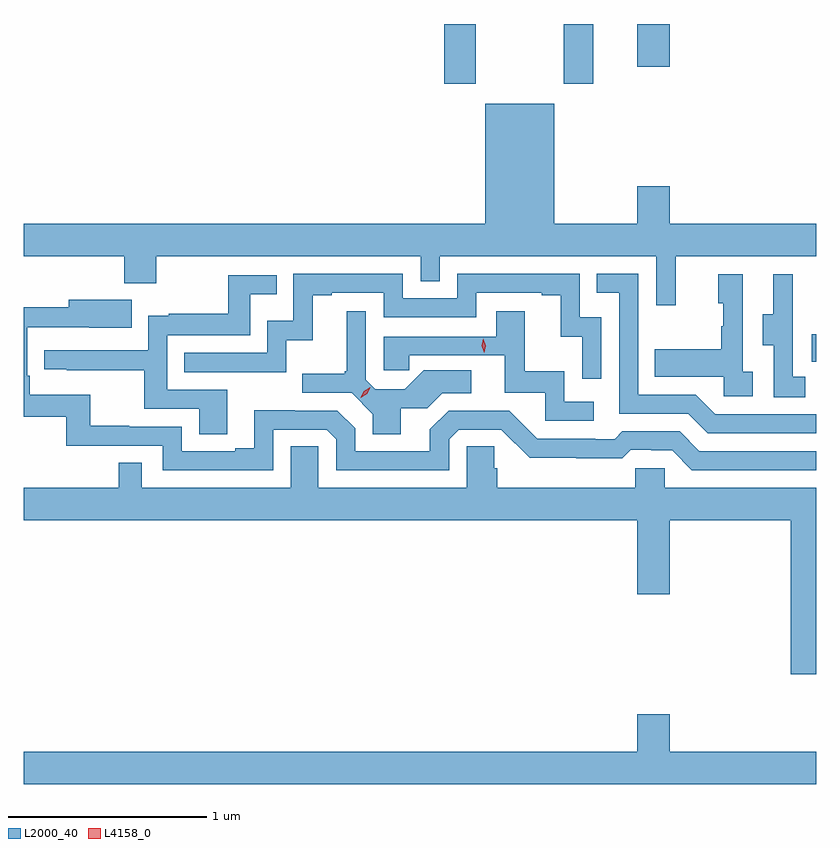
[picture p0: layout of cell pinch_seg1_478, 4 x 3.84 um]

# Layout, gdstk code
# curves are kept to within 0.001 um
import gdstk
lib = gdstk.Library(unit=1e-6, precision=1e-09)
def R(c, l, rs):  # rectangles x0, y0, x1, y1
    for r in rs: c.add(gdstk.rectangle(r[:2], r[2:], *l))
def P(c, l, *ps):  # polygons
    for p in ps: c.add(gdstk.Polygon(p, *l))
L2000_40 = (2000, 40)
L4158_0 = (4158, 0)

pinch_seg1_478 = lib.new_cell('pinch_seg1_478')
R(pinch_seg1_478, L2000_40, [(1088.965,541.877,1088.987,542.014), (1087.109,543.279,1087.269,543.581), (1087.714,543.279,1087.861,543.581), (1088.084,543.366,1088.248,543.581)])
P(pinch_seg1_478, L2000_40, [(1088.279,542.408),(1088.987,542.408),(1088.987,542.572),(1088.248,542.572),(1088.248,542.761),(1088.084,542.761),(1088.084,542.572),(1087.666,542.572),(1087.666,543.178),(1087.316,543.178),(1087.316,542.572),(1084.987,542.572),(1084.987,542.408),(1085.495,542.408),(1085.495,542.273),(1085.655,542.273),(1085.655,542.408),(1086.99,542.408),(1086.99,542.281),(1087.086,542.281),(1087.086,542.408),(1088.181,542.408),(1088.181,542.16),(1088.279,542.16)],
  [(1088.987,541.611),(1088.478,541.611),(1088.379,541.71),(1088.088,541.71),(1088.088,542.319),(1087.879,542.319),(1087.879,542.223),(1087.992,542.223),(1087.992,541.614),(1088.342,541.614),(1088.441,541.515),(1088.987,541.515)],
  [(1087.902,542.1),(1087.794,542.1),(1087.794,542.319),(1087.176,542.319),(1087.176,542.196),(1086.9,542.196),(1086.9,542.319),(1086.348,542.319),(1086.348,542.083),(1086.216,542.083),(1086.216,541.92),(1085.797,541.92),(1085.797,541.824),(1086.312,541.824),(1086.312,541.985),(1086.445,541.985),(1086.445,542.211),(1086.541,542.211),(1086.541,542.223),(1086.804,542.223),(1086.804,542.1),(1087.272,542.1),(1087.272,542.223),(1087.601,542.223),(1087.601,542.211),(1087.697,542.211),(1087.697,542.003),(1087.806,542.003),(1087.806,541.791),(1087.902,541.791)],
  [(1088.668,541.826),(1088.616,541.826),(1088.616,542.317),(1088.492,542.317),(1088.492,542.172),(1088.518,542.172),(1088.518,542.054),(1088.508,542.054),(1088.508,541.939),(1088.173,541.939),(1088.173,541.799),(1088.52,541.799),(1088.52,541.701),(1088.668,541.701)],
  [(1088.932,541.799),(1088.868,541.799),(1088.868,542.103),(1088.87,542.103),(1088.87,542.317),(1088.771,542.317),(1088.771,542.115),(1088.717,542.115),(1088.717,541.96),(1088.772,541.96),(1088.772,541.696),(1088.932,541.696)],
  [(1086.013,541.734),(1085.712,541.734),(1085.712,542.01),(1086.129,542.01),(1086.129,542.216),(1086.263,542.216),(1086.263,542.313),(1086.018,542.313),(1086.018,542.119),(1085.719,542.119),(1085.719,542.107),(1085.616,542.107),(1085.616,541.935),(1085.091,541.935),(1085.091,541.839),(1085.203,541.839),(1085.203,541.834),(1085.596,541.834),(1085.596,541.638),(1085.873,541.638),(1085.873,541.51),(1086.013,541.51)],
  [(1086.246,541.533),(1086.516,541.533),(1086.564,541.485),(1086.564,541.329),(1087.134,541.329),(1087.134,541.485),(1087.182,541.533),(1087.398,541.533),(1087.54,541.391),(1087.776,541.391),(1087.776,541.389),(1088.009,541.389),(1088.051,541.431),(1088.154,541.431),(1088.154,541.428),(1088.261,541.428),(1088.36,541.329),(1088.987,541.329),(1088.987,541.425),(1088.397,541.425),(1088.298,541.524),(1088.009,541.524),(1087.97,541.485),(1087.871,541.485),(1087.871,541.488),(1087.578,541.488),(1087.437,541.629),(1087.131,541.629),(1087.037,541.535),(1087.037,541.425),(1086.66,541.425),(1086.66,541.539),(1086.57,541.629),(1086.354,541.629),(1086.354,541.631),(1086.149,541.631),(1086.149,541.438),(1086.053,541.438),(1086.053,541.425),(1085.784,541.425),(1085.784,541.548),(1085.519,541.548),(1085.519,541.553),(1085.323,541.553),(1085.323,541.708),(1085.018,541.708),(1085.018,541.804),(1085.004,541.804),(1085.004,542.049),(1085.531,542.048),(1085.531,542.188),(1085.213,542.188),(1085.213,542.15),(1084.987,542.15),(1084.987,541.599),(1085.202,541.599),(1085.202,541.452),(1085.688,541.452),(1085.688,541.329),(1086.246,541.329)],
  [(1087.864,541.674),(1087.716,541.674),(1087.716,541.828),(1087.517,541.828),(1087.517,542.131),(1087.373,542.131),(1087.373,542.001),(1086.803,542.001),(1086.803,541.834),(1086.933,541.834),(1086.933,541.909),(1087.415,541.909),(1087.415,541.719),(1087.62,541.719),(1087.62,541.578),(1087.864,541.578)],
  [(1086.889,541.642),(1087.024,541.642),(1087.1,541.718),(1087.246,541.718),(1087.246,541.833),(1087.007,541.834),(1086.91,541.737),(1086.762,541.737),(1086.714,541.785),(1086.714,542.131),(1086.617,542.131),(1086.617,541.828),(1086.606,541.828),(1086.606,541.816),(1086.393,541.816),(1086.393,541.719),(1086.642,541.719),(1086.749,541.612),(1086.749,541.51),(1086.889,541.51)],
  [(1088.987,541.24),(1088.223,541.24),(1088.223,541.338),(1088.073,541.338),(1088.073,541.24),(1087.376,541.24),(1087.376,541.338),(1087.361,541.338),(1087.361,541.448),(1087.224,541.448),(1087.224,541.24),(1086.474,541.24),(1086.474,541.448),(1086.335,541.448),(1086.335,541.24),(1085.583,541.24),(1085.583,541.367),(1085.467,541.367),(1085.467,541.24),(1084.987,541.24),(1084.987,541.076),(1088.084,541.076),(1088.084,540.702),(1088.248,540.702),(1088.248,541.076),(1088.858,541.076),(1088.858,540.297),(1088.987,540.297)],
  [(1088.987,539.908),(1088.248,539.908),(1088.248,540.097),(1088.084,540.097),(1088.084,539.908),(1084.987,539.908),(1084.987,539.744),(1088.987,539.744)])
P(pinch_seg1_478, L4158_0, [(1086.688,541.693),(1086.688,541.693),(1086.704,541.727),(1086.735,541.748),(1086.735,541.748),(1086.735,541.747),(1086.72,541.714),(1086.689,541.693)],
  [(1087.312,541.921),(1087.312,541.921),(1087.299,541.956),(1087.306,541.992),(1087.306,541.992),(1087.307,541.992),(1087.319,541.957),(1087.312,541.921)])

lib.write_gds('pinch_seg1_478.gds')
